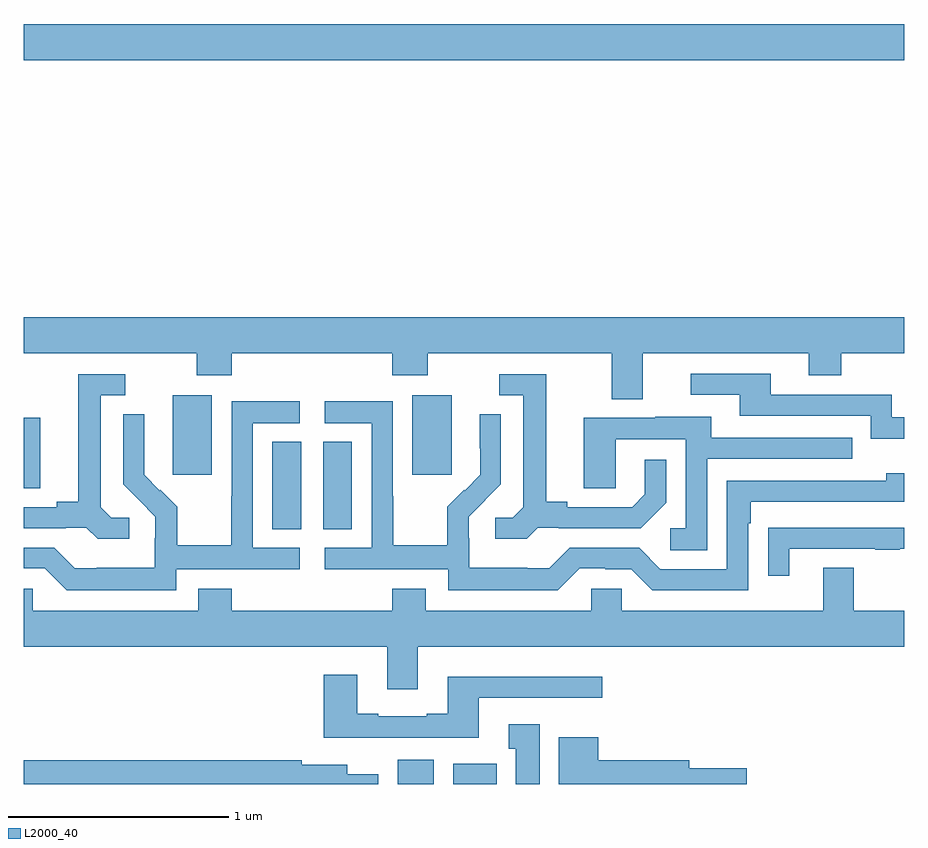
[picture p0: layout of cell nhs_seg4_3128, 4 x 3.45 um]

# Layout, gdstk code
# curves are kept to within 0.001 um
import gdstk
lib = gdstk.Library(unit=1e-6, precision=1e-09)
def R(c, l, rs):  # rectangles x0, y0, x1, y1
    for r in rs: c.add(gdstk.rectangle(r[:2], r[2:], *l))
def P(c, l, *ps):  # polygons
    for p in ps: c.add(gdstk.Polygon(p, *l))
L2000_40 = (2000, 40)

nhs_seg4_3128 = lib.new_cell('nhs_seg4_3128')
R(nhs_seg4_3128, L2000_40, [(278.699,758.9,278.863,759.01), (278.951,758.9,279.148,758.992), (278.129,760.057,278.26,760.454), (278.36,760.057,278.491,760.454), (277,760.243,277.075,760.563), (277.676,760.305,277.855,760.666), (278.765,760.305,278.944,760.666), (277,762.188,281,762.352)])
P(nhs_seg4_3128, L2000_40, [(279.811,760.856),(280.565,760.856),(280.565,760.757),(280.713,760.757),(280.713,760.856),(281,760.856),(281,761.02),(277,761.02),(277,760.856),(277.786,760.856),(277.786,760.757),(277.946,760.757),(277.946,760.856),(278.675,760.856),(278.675,760.757),(278.835,760.757),(278.835,760.856),(279.671,760.856),(279.671,760.648),(279.811,760.648)],
  [(281,760.566),(280.944,760.566),(280.944,760.668),(280.393,760.668),(280.393,760.764),(280.029,760.764),(280.029,760.668),(280.253,760.668),(280.253,760.572),(280.848,760.572),(280.848,760.469),(281,760.469)],
  [(277.48,760.11),(277.398,760.11),(277.351,760.157),(277.351,760.665),(277.462,760.665),(277.462,760.761),(277.247,760.761),(277.247,760.181),(277.151,760.181),(277.151,760.158),(277,760.158),(277,760.062),(277.19,760.062),(277.19,760.065),(277.284,760.065),(277.336,760.013),(277.48,760.013)],
  [(279.336,760.065),(279.43,760.065),(279.43,760.062),(279.802,760.062),(279.918,760.178),(279.918,760.372),(279.821,760.372),(279.821,760.215),(279.764,760.158),(279.469,760.158),(279.469,760.181),(279.373,760.181),(279.373,760.761),(279.159,760.761),(279.159,760.665),(279.269,760.665),(279.269,760.157),(279.222,760.11),(279.141,760.11),(279.141,760.013),(279.284,760.013)],
  [(277.692,759.876),(278.254,759.876),(278.254,759.972),(278.04,759.972),(278.04,760.539),(278.254,760.539),(278.254,760.638),(277.944,760.638),(277.944,760.208),(277.942,760.208),(277.942,759.985),(277.697,759.985),(277.697,760.159),(277.62,760.236),(277.617,760.233),(277.547,760.304),(277.548,760.58),(277.452,760.58),(277.452,760.262),(277.598,760.114),(277.598,760.017),(277.596,760.017),(277.596,759.883),(277.333,759.883),(277.333,759.879),(277.233,759.879),(277.14,759.972),(277,759.972),(277,759.879),(277.095,759.879),(277.195,759.779),(277.692,759.779)],
  [(279.525,759.879),(279.641,759.879),(279.641,759.876),(279.759,759.876),(279.855,759.78),(280.29,759.78),(280.29,760.085),(280.303,760.085),(280.303,760.182),(281,760.182),(281,760.312),(280.919,760.312),(280.919,760.278),(280.194,760.278),(280.194,759.876),(279.891,759.876),(279.795,759.972),(279.48,759.972),(279.387,759.879),(279.287,759.879),(279.287,759.883),(279.024,759.883),(279.024,760.017),(279.022,760.017),(279.022,760.114),(279.168,760.262),(279.168,760.58),(279.072,760.58),(279.072,760.426),(279.074,760.426),(279.074,760.304),(279.003,760.233),(279,760.236),(278.923,760.159),(278.923,759.985),(278.679,759.985),(278.679,760.208),(278.676,760.208),(278.676,760.638),(278.367,760.638),(278.367,760.539),(278.58,760.539),(278.58,759.972),(278.367,759.972),(278.367,759.876),(278.928,759.876),(278.928,759.779),(279.425,759.779)],
  [(280.104,760.377),(280.763,760.377),(280.763,760.473),(280.123,760.473),(280.123,760.567),(279.869,760.567),(279.869,760.563),(279.545,760.563),(279.545,760.243),(279.69,760.243),(279.69,760.467),(280.008,760.467),(280.008,760.062),(279.936,760.062),(279.936,759.961),(280.104,759.961)],
  [(280.477,759.969),(280.867,759.969),(280.867,759.964),(280.979,759.964),(280.979,759.969),(281,759.969),(281,760.065),(280.483,760.065),(280.483,760.064),(280.381,760.064),(280.381,759.846),(280.477,759.846)],
  [(278.791,759.524),(281,759.524),(281,759.688),(280.771,759.688),(280.771,759.883),(280.631,759.883),(280.631,759.688),(279.717,759.688),(279.717,759.786),(279.579,759.786),(279.579,759.688),(278.827,759.688),(278.827,759.787),(278.675,759.787),(278.675,759.688),(277.946,759.688),(277.946,759.787),(277.793,759.787),(277.793,759.688),(277.041,759.688),(277.041,759.786),(277,759.786),(277,759.524),(278.651,759.524),(278.651,759.33),(278.791,759.33)],
  [(279.067,759.291),(279.628,759.291),(279.628,759.388),(278.927,759.388),(278.927,759.22),(278.831,759.22),(278.831,759.207),(278.611,759.207),(278.611,759.22),(278.515,759.22),(278.515,759.397),(278.363,759.397),(278.363,759.111),(279.067,759.111)],
  [(279.343,759.172),(279.203,759.172),(279.203,759.059),(279.236,759.059),(279.236,758.9),(279.343,758.9)],
  [(280.285,758.972),(280.024,758.972),(280.024,759.008),(279.61,759.008),(279.61,759.112),(279.431,759.112),(279.431,758.9),(280.285,758.9)],
  [(278.611,758.944),(278.47,758.944),(278.47,758.988),(278.264,758.988),(278.264,759.008),(277,759.008),(277,758.9),(278.611,758.9)])

lib.write_gds('nhs_seg4_3128.gds')
